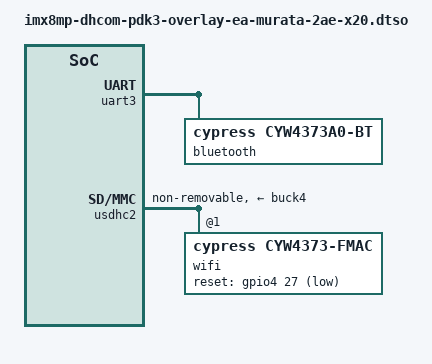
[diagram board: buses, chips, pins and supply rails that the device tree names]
// SPDX-License-Identifier: (GPL-2.0+ OR BSD-3-Clause)
/*
 * Copyright (C) 2023-2026 Marek Vasut
 */
/dts-v1/;
/plugin/;

#include <dt-bindings/clock/imx8mp-clock.h>
#include <dt-bindings/gpio/gpio.h>

/* This DTO requires HI00106 SoM variant. */

&{/} {
	led {
		led-0 {
			/* LED0 GPIO conflicts with #SDIO_RST GPIO-D */
			status = "disabled";
		};
	};
};

&uart3 {
	assigned-clocks = <&clk IMX8MP_CLK_UART3>;
	assigned-clock-parents = <&clk IMX8MP_SYS_PLL1_80M>;
	assigned-clock-rates = <80000000>;

	bluetooth {
		compatible = "cypress,cyw4373a0-bt";
		max-speed = <4000000>;
	};
};

/* SD slot */
&usdhc2 {
	pinctrl-names = "default";
	pinctrl-0 = <&pinctrl_usdhc2>;
	broken-cd;
	cap-power-off-card;
	keep-power-in-suspend;
	non-removable;
	vmmc-supply = <&buck4>;

	#address-cells = <1>;
	#size-cells = <0>;

	wifi@1 {	/* muRata 2AE */
		compatible = "cypress,cyw4373-fmac", "brcm,bcm4329-fmac";
		reg = <1>;
		/*
		 * The "host-wake" interrupt output is by default not
		 * connected to the SoC, but can be connected on to
		 * SoC pin on the carrier board.
		 */
		reset-gpios = <&gpio4 27 GPIO_ACTIVE_LOW>; /* GPIO D */
	};
};
